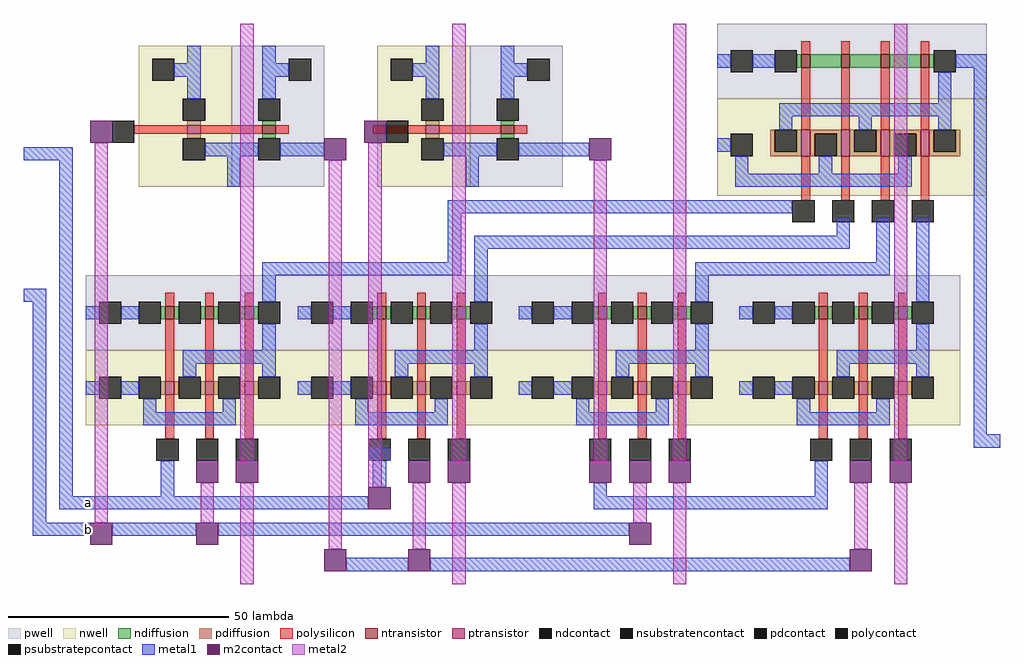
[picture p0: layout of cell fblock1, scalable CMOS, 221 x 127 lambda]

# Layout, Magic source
magic
tech scmos
<< polycontact >>
rect 81 -10 86 -5
rect 143 -10 148 -5
<< metal1 >>
rect 61 -14 72 -11
rect 183 -13 189 -10
rect 61 -46 66 -43
rect 63 -96 66 -46
rect 69 -90 72 -14
rect 157 -26 235 -23
rect 157 -37 160 -26
rect 245 -31 248 -27
rect 115 -40 160 -37
rect 163 -34 248 -31
rect 163 -40 166 -34
rect 254 -37 257 -27
rect 213 -40 257 -37
rect 115 -43 118 -40
rect 213 -41 216 -40
rect 263 -41 266 -27
rect 276 -76 279 10
rect 276 -79 282 -76
rect 139 -82 144 -79
rect 92 -90 95 -82
rect 140 -88 143 -82
rect 69 -93 139 -90
rect 190 -90 193 -87
rect 240 -90 243 -82
rect 190 -93 243 -90
rect 63 -99 76 -96
rect 81 -99 100 -96
rect 105 -99 198 -96
rect 134 -107 148 -104
rect 153 -107 248 -104
<< m2contact >>
rect 76 -10 81 -5
rect 129 -14 134 -9
rect 138 -10 143 -5
rect 189 -14 194 -9
rect 100 -87 105 -82
rect 109 -87 114 -82
rect 148 -87 153 -82
rect 157 -87 162 -82
rect 189 -87 194 -82
rect 198 -87 203 -82
rect 207 -87 212 -82
rect 139 -93 144 -88
rect 248 -87 253 -82
rect 257 -87 262 -82
rect 76 -101 81 -96
rect 100 -101 105 -96
rect 198 -101 203 -96
rect 129 -107 134 -102
rect 148 -107 153 -102
rect 248 -107 253 -102
<< metal2 >>
rect 77 -96 80 -10
rect 110 -82 113 17
rect 101 -96 104 -87
rect 110 -110 113 -87
rect 130 -102 133 -14
rect 139 -88 142 -10
rect 158 -82 161 17
rect 190 -82 193 -14
rect 208 -82 211 17
rect 258 -82 261 17
rect 149 -102 152 -87
rect 158 -110 161 -87
rect 199 -96 202 -87
rect 208 -110 211 -87
rect 249 -102 252 -87
rect 258 -110 261 -87
use inverter  inverter_0
transform 1 0 96 0 1 -11
box -10 -9 33 23
use inverter  inverter_1
transform 1 0 150 0 1 -11
box -10 -9 33 23
use NAND3  NAND3_0
transform 0 -1 145 1 0 -67
box -15 -28 27 22
use NAND3  NAND3_1
transform 0 -1 97 1 0 -67
box -15 -28 27 22
use NAND3  NAND3_2
transform 0 -1 195 1 0 -67
box -15 -28 27 22
use NAND3  NAND3_3
transform 0 -1 245 1 0 -67
box -15 -28 27 22
use NAND4  NAND4_0
transform 0 -1 192 1 0 -19
box -9 -87 36 -26
<< labels >>
rlabel metal1 75 -92 76 -91 3 a
rlabel metal1 75 -98 76 -97 7 b
<< end >>

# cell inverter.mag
magic
tech scmos
<< nwell >>
rect -9 -9 12 23
<< pwell >>
rect 12 -9 33 23
<< ntransistor >>
rect 19 3 22 5
<< ptransistor >>
rect 2 3 5 5
<< ndiffusion >>
rect 19 5 22 6
rect 19 2 22 3
<< pdiffusion >>
rect 2 5 5 6
rect 2 2 5 3
<< ndcontact >>
rect 18 6 23 11
rect 18 -3 23 2
<< pdcontact >>
rect 1 6 6 11
rect 1 -3 6 2
<< psubstratepcontact >>
rect 25 15 30 20
<< nsubstratencontact >>
rect -6 15 -1 20
<< polysilicon >>
rect -10 3 2 5
rect 5 3 19 5
rect 22 3 25 5
<< metal1 >>
rect 2 19 5 23
rect -1 16 5 19
rect 2 11 5 16
rect 19 19 22 23
rect 19 16 25 19
rect 19 11 22 16
rect 6 -2 18 1
rect 11 -9 14 -2
rect 23 -2 33 1
<< labels >>
rlabel polysilicon -10 4 -9 5 3 in
rlabel metal1 12 -9 13 -8 1 out
rlabel metal1 20 22 21 23 5 GND!
rlabel metal1 3 22 4 23 5 Vdd!
<< end >>

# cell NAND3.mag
magic
tech scmos
<< nwell >>
rect -7 -28 10 22
<< pwell >>
rect 10 -28 27 22
<< ntransistor >>
rect 17 2 20 4
rect 17 -7 20 -5
rect 17 -16 20 -14
<< ptransistor >>
rect 0 2 3 4
rect 0 -7 3 -5
rect 0 -16 3 -14
<< ndiffusion >>
rect 17 4 20 5
rect 17 1 20 2
rect 17 -5 20 -4
rect 17 -8 20 -7
rect 17 -14 20 -13
rect 17 -17 20 -16
<< pdiffusion >>
rect 0 4 3 5
rect 0 1 3 2
rect 0 -5 3 -4
rect 0 -8 3 -7
rect 0 -14 3 -13
rect 0 -17 3 -16
<< ndcontact >>
rect 16 5 21 10
rect 16 -4 21 1
rect 16 -13 21 -8
rect 16 -22 21 -17
<< pdcontact >>
rect -1 5 4 10
rect -1 -4 4 1
rect -1 -13 4 -8
rect -1 -22 4 -17
<< psubstratepcontact >>
rect 16 14 21 19
<< nsubstratencontact >>
rect -1 14 4 19
<< polysilicon >>
rect -10 2 0 4
rect 3 2 17 4
rect 20 2 23 4
rect -10 -7 0 -5
rect 3 -7 17 -5
rect 20 -7 23 -5
rect -10 -16 0 -14
rect 3 -16 17 -14
rect 20 -16 23 -14
<< polycontact >>
rect -15 1 -10 6
rect -15 -8 -10 -3
rect -15 -17 -10 -12
<< metal1 >>
rect 0 19 3 22
rect 17 19 20 22
rect 0 10 3 14
rect 17 10 20 14
rect -7 6 -1 9
rect -7 -9 -4 6
rect 4 -3 10 0
rect -7 -12 -1 -9
rect 7 -18 10 -3
rect 4 -21 16 -18
rect 21 -21 27 -18
<< labels >>
rlabel metal1 1 21 2 22 5 Vdd!
rlabel metal1 18 21 19 22 1 GND!
rlabel polysilicon -8 2 -7 3 3 a
rlabel polycontact -15 -16 -14 -14 3 c
rlabel polycontact -15 -6 -14 -4 3 b
rlabel metal1 26 -20 27 -19 7 out
rlabel polycontact -15 3 -14 4 3 a
<< end >>

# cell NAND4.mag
magic
tech scmos
<< nwell >>
rect -3 -87 19 -26
<< pwell >>
rect 19 -87 36 -26
<< ntransistor >>
rect 26 -47 29 -45
rect 26 -56 29 -54
rect 26 -65 29 -63
rect 26 -74 29 -72
<< ptransistor >>
rect 6 -47 12 -45
rect 6 -56 12 -54
rect 6 -65 12 -63
rect 6 -74 12 -72
<< ndiffusion >>
rect 26 -45 29 -44
rect 26 -54 29 -47
rect 26 -63 29 -56
rect 26 -72 29 -65
rect 26 -75 29 -74
<< pdiffusion >>
rect 6 -39 12 -38
rect 6 -44 7 -39
rect 6 -45 12 -44
rect 6 -48 12 -47
rect 11 -53 12 -48
rect 6 -54 12 -53
rect 6 -57 12 -56
rect 6 -62 7 -57
rect 6 -63 12 -62
rect 6 -66 12 -65
rect 11 -71 12 -66
rect 6 -72 12 -71
rect 6 -75 12 -74
rect 6 -80 7 -75
rect 6 -81 12 -80
<< ndcontact >>
rect 25 -44 30 -39
rect 25 -80 30 -75
<< pdcontact >>
rect 7 -44 12 -39
rect 6 -53 11 -48
rect 7 -62 12 -57
rect 6 -71 11 -66
rect 7 -80 12 -75
<< psubstratepcontact >>
rect 25 -34 30 -29
<< nsubstratencontact >>
rect 6 -34 11 -29
<< polysilicon >>
rect -4 -47 6 -45
rect 12 -47 26 -45
rect 29 -47 32 -45
rect -4 -56 6 -54
rect 12 -56 26 -54
rect 29 -56 32 -54
rect -4 -65 6 -63
rect 12 -65 26 -63
rect 29 -65 32 -63
rect -4 -74 6 -72
rect 12 -74 26 -72
rect 29 -74 32 -72
<< polycontact >>
rect -9 -48 -4 -43
rect -9 -57 -4 -52
rect -9 -66 -4 -61
rect -9 -75 -4 -70
<< metal1 >>
rect 7 -29 10 -26
rect 26 -29 29 -26
rect -1 -33 6 -30
rect -1 -49 2 -33
rect 26 -39 29 -34
rect 12 -43 18 -40
rect -1 -52 6 -49
rect -1 -67 2 -52
rect 15 -58 18 -43
rect 12 -61 18 -58
rect -1 -70 6 -67
rect 15 -76 18 -61
rect 12 -79 25 -76
rect 26 -87 29 -80
<< labels >>
rlabel polycontact -9 -46 -8 -45 1 i0
rlabel polycontact -9 -55 -8 -54 1 i1
rlabel polycontact -9 -64 -8 -63 1 i2
rlabel polycontact -9 -73 -8 -72 1 i3
rlabel metal1 27 -87 28 -86 1 out
rlabel metal1 8 -27 9 -26 1 Vdd!
rlabel metal1 27 -27 28 -26 1 GND!
<< end >>
